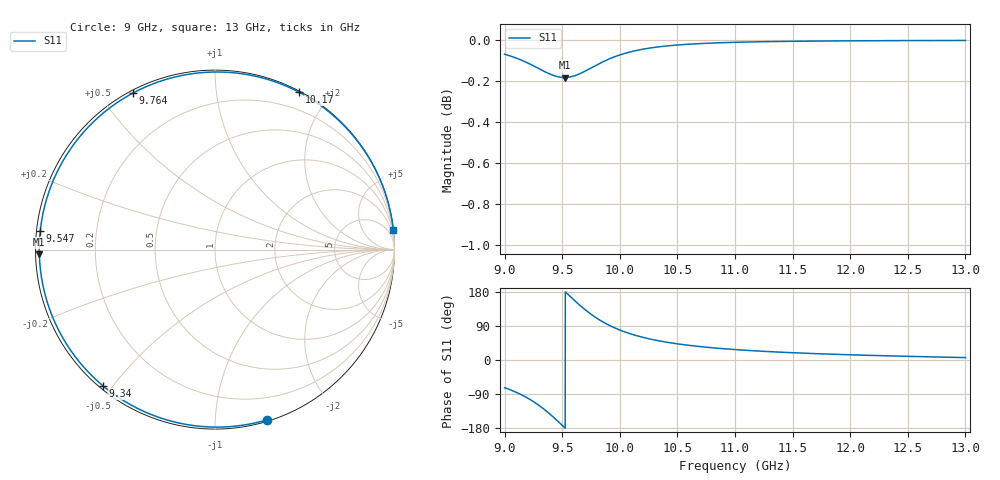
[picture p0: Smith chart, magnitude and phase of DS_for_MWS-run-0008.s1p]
! TOUCHSTONE file generated by CST DESIGN STUDIO
! Date and time: Tue Feb  4 16:02:51 2025
! Project name: C:\Work\MatlabApps\UnitCellOptimizationMatlab\CST\unitcell.cst
! Tree item: Tasks\Sweep1\SPara1\S-Parameters
! Header version: 2024
! Port assignment regex: !\s*Touchstone port\s*([0-9]+)\s*=\s*(CST MWS port|CST DES external port|CST DES block port)\s*(.+)\s* \(\"(.*)\"\)(\s*mode\s*([0-9]+))?.*
! Touchstone port assignment:
! Touchstone port 1 = CST DES external port 1 ("")
# GHz S MA R 50
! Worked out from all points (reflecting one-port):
!   4001 points, 9 GHz to 13 GHz, reference 50 ohm
!   lowest |S11| = -0.2 dB at 9.521 GHz (marker M1), VSWR 94.50, Z = 0.529 - j0.675 ohm
!   phase of S11 starts at -73 deg and turns -281 deg over the sweep
!   S11 on the Smith chart (normalised r, x): 9 GHz: 0.01, -1.35; 9.34 GHz: 0.01, -0.47; 9.547 GHz: 0.01, +0.05; 9.764 GHz: 0.01, +0.60; 10.17 GHz: 0.01, +1.67; 13 GHz: 0, +18
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9  0.9919 -73.1
9.093  0.99 -84.2
9.199  0.9871 -100.4
9.273  0.9848 -114.4
9.34  0.9825 -129.4
9.384  0.9812 -140.3
9.429  0.9801 -152.3
9.465  0.9795 -162.3
9.5  0.9791 -172.4
9.521  0.9791 -178.5
9.547  0.9791 174.0
9.601  0.9799 158.5
9.661  0.9814 142.3
9.712  0.983 129.5
9.764  0.9848 117.7
9.814  0.9865 107.6
9.868  0.9881 97.9
10  0.9915 79.1
10.084  0.9931 69.9
10.174  0.9944 61.8
10.323  0.9959 51.5
10.5  0.997 42.6
10.722  0.9979 34.6
11  0.9985 27.5
11.5  0.9991 19.2
12  0.9994 13.7
12.5  0.9995 9.7
13  0.9996 6.4
